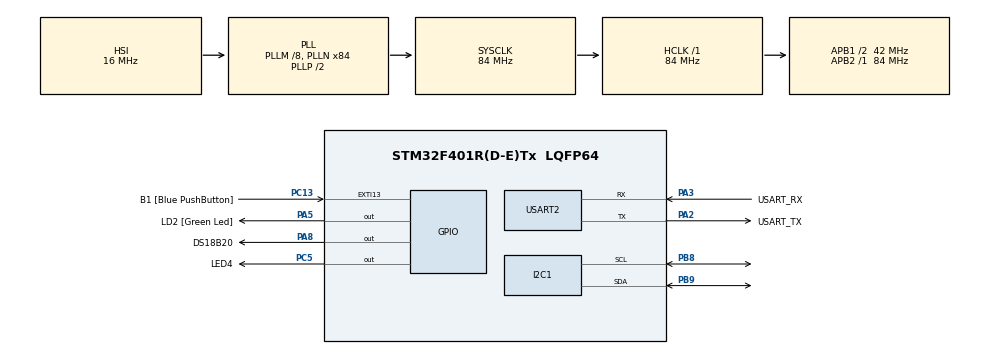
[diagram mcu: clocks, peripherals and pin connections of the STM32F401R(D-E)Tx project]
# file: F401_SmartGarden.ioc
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FREERTOS.Tasks01=defaultTask,0,128,StartDefaultTask,Default,NULL,Dynamic,NULL,NULL
FREERTOS.configTOTAL_HEAP_SIZE=20000
FREERTOS.configUSE_NEWLIB_REENTRANT=1
Mcu.Family=STM32F4
Mcu.Name=STM32F401R(D-E)Tx
Mcu.Package=LQFP64
NVIC.PriorityGroup=NVIC_PRIORITYGROUP_4
NVIC.TIM1_UP_TIM10_IRQn=true\:15\:0\:false\:false\:true\:false\:false\:true\:true
NVIC.TimeBase=TIM1_UP_TIM10_IRQn
NVIC.TimeBaseIP=TIM10
PA13.GPIO_Label=TMS
PA13.Mode=Serial_Wire
PA13.Signal=SYS_JTMS-SWDIO
PA14.GPIO_Label=TCK
PA14.Mode=Serial_Wire
PA14.Signal=SYS_JTCK-SWCLK
PA2.GPIO_Label=USART_TX
PA2.GPIO_Mode=GPIO_MODE_AF_PP
PA2.GPIO_PuPd=GPIO_NOPULL
PA2.GPIO_Speed=GPIO_SPEED_FREQ_LOW
PA2.Mode=Asynchronous
PA2.Signal=USART2_TX
PA3.GPIO_Label=USART_RX
PA3.GPIO_Mode=GPIO_MODE_AF_PP
PA3.GPIO_PuPd=GPIO_NOPULL
PA3.GPIO_Speed=GPIO_SPEED_FREQ_LOW
PA3.Mode=Asynchronous
PA3.Signal=USART2_RX
PA5.GPIO_Label=LD2 [Green Led]
PA5.GPIO_Mode=GPIO_MODE_OUTPUT_PP
PA5.GPIO_ModeDefaultOutputPP=GPIO_MODE_OUTPUT_PP
PA5.GPIO_PuPd=GPIO_NOPULL
PA5.GPIO_Speed=GPIO_SPEED_FREQ_LOW
PA5.Signal=GPIO_Output
PA8.GPIO_Label=DS18B20
PA8.GPIO_ModeDefaultOutputPP=GPIO_MODE_OUTPUT_OD
PA8.GPIO_PuPd=GPIO_PULLUP
PA8.Signal=GPIO_Output
PB3.GPIO_Label=SWO
PB3.Signal=SYS_JTDO-SWO
PB8.Mode=I2C
PB8.Signal=I2C1_SCL
PB9.Mode=I2C
PB9.Signal=I2C1_SDA
PC13-ANTI_TAMP.GPIO_Label=B1 [Blue PushButton]
PC13-ANTI_TAMP.GPIO_ModeDefaultEXTI=GPIO_MODE_IT_FALLING
PC13-ANTI_TAMP.GPIO_PuPd=GPIO_NOPULL
PC13-ANTI_TAMP.Signal=GPXTI13
PC14-OSC32_IN.Mode=LSE-External-Oscillator
PC14-OSC32_IN.Signal=RCC_OSC32_IN
PC15-OSC32_OUT.Mode=LSE-External-Oscillator
PC15-OSC32_OUT.Signal=RCC_OSC32_OUT
PC5.GPIO_Label=LED4
PC5.Signal=GPIO_Output
PH0\ -\ OSC_IN.Mode=HSE-External-Clock-Source
PH0\ -\ OSC_IN.Signal=RCC_OSC_IN
PH1\ -\ OSC_OUT.Mode=HSE-External-Clock-Source
PH1\ -\ OSC_OUT.Signal=RCC_OSC_OUT
ProjectManager.HeapSize=0x200
ProjectManager.StackSize=0x400
ProjectManager.TargetToolchain=STM32CubeIDE
RCC.48MHZClocksFreq_Value=24000000
RCC.AHBFreq_Value=84000000
RCC.APB1CLKDivider=RCC_HCLK_DIV2
RCC.APB1Freq_Value=42000000
RCC.APB1TimFreq_Value=84000000
RCC.APB2Freq_Value=84000000
RCC.APB2TimFreq_Value=84000000
RCC.CortexFreq_Value=84000000
RCC.HCLKFreq_Value=84000000
RCC.HSE_VALUE=8000000
RCC.HSI_VALUE=16000000
RCC.PLLM=8
RCC.PLLN=84
RCC.PLLQ=7
RCC.SYSCLKFreq_VALUE=84000000
RCC.SYSCLKSource=RCC_SYSCLKSOURCE_PLLCLK
RCC.VCOOutputFreq_Value=168000000
TIM1.Prescaler=84-1
USART2.VirtualMode=VM_ASYNC
VP_FREERTOS_VS_CMSIS_V1.Mode=CMSIS_V1
VP_SYS_VS_tim10.Mode=TIM10
VP_TIM1_VS_ClockSourceINT.Mode=Internal
board=NUCLEO-F401RE

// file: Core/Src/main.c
/* USER CODE BEGIN Header */
/**
 ******************************************************************************
 * @file           : main.c
 * @brief          : Main program body
 ******************************************************************************
 * @attention
 *
 * Copyright (c) 2022 STMicroelectronics.
 * All rights reserved.
 *
 * This software is licensed under terms that can be found in the LICENSE file
 * in the root directory of this software component.
 * If no LICENSE file comes with this software, it is provided AS-IS.
 *
 ******************************************************************************
 */
/* USER CODE END Header */
#include "main.h"
#include "cmsis_os.h"
#include "i2c.h"
#include "tim.h"
#include "usart.h"
#include "gpio.h"

/* USER CODE BEGIN Includes */
#include "bmp180_for_stm32_hal.h"
#include "stdio.h"
#include "stdlib.h"
#include "string.h"

#include "onewire.h"
#include "ds18b20.h"
/* USER CODE END Includes */

/* USER CODE BEGIN PV */
osThreadId Bmp180Handle;
osThreadId Ds18b20Handle;
osThreadId BlinkyHandle;

//osMutexDef (MutexIsr);                                     // Mutex name definition
//osMutexId mutex_id;                                        // Mutex id

/* USER CODE END PV */

void SystemClock_Config(void);
void MX_FREERTOS_Init(void);
/* USER CODE BEGIN PFP */
void Bmp180_Init(osPriority Priority);
void Ds18b20_Init(osPriority Priority);

void Task_Bmp180(void const *argument);
void Task_Blinky(void const *argument);
void Task_Ds18b20(void const *argument);

#ifdef __GNUC__
#define PUTCHAR_PROTOTYPE int __io_putchar(int ch)
#else
#define PUTCHAR_PROTOTYPE int fputc(int ch, FILE *f)
#endif

PUTCHAR_PROTOTYPE {
	HAL_UART_Transmit(&huart2, (uint8_t*) &ch, 1, HAL_MAX_DELAY);
	return ch;
}
/* USER CODE END PFP */

int main(void)
{

  /* MCU Configuration--------------------------------------------------------*/

  /* Reset of all peripherals, Initializes the Flash interface and the Systick. */
  HAL_Init();

  /* Configure the system clock */
  SystemClock_Config();

  /* Initialize all configured peripherals */
  MX_GPIO_Init();
  MX_USART2_UART_Init();
  MX_I2C1_Init();
  MX_TIM1_Init();
  /* USER CODE BEGIN 2 */

	DS18B20_Config(DS18B20_Resolution_12bits);// olyan mintha a mutex előtt kellene lennie...

//	DS18B20_Config(DS18B20_Resolution_12bits);//ennek itt kell lennie, mert különben nem működik :D
	//ha be akarom tenni pl. a Ds18b20_Init()-be akkor már nem jó... lehal a led taszk is...
	printf("\r\n************** APPLICATION *************\r\n");
	printf("****************************************\r\n");

	printf("Next version\r\n");

	//mutex_id = osMutexCreate  (osMutex (MutexIsr));
	// szüksége van a mutexre is... én ezt komolyan nem értem...
	// nincs amúgy error handlerbe ilyenkor...

	Bmp180_Init(osPriorityNormal);

	//valamiért még nem megy... :(
	// pedig mutexet is próbáltam
	// néha az első kiírás után lefagy, de beakasztja a ledvillogtató taszkot is...

	//asszem megvan :D
	// csak több mneória kellett neki (256)
	Ds18b20_Init(osPriorityNormal);

	osPriority Task_BlinkyPriority = osPriorityNormal;
	osThreadDef(myTask_Blinky, Task_Blinky, Task_BlinkyPriority, 0, 128);
	BlinkyHandle = osThreadCreate(osThread(myTask_Blinky), NULL);

	///!!! BIZONY, BIZONY A TASZKOK MEMÓRIÁJÁT KELLETT ÁLLÍTGATNI, HOGY A MUTEX NÉLKÜL MENJEN....
	//HÁT EZ SEM MINDIG MEGY...
	//LEHET HOGY A DS18B20 NEM AZ IGAZI, LEHET NÉHA RESETELNI KÉNE, MERT NÉHA 4095-ÖT ÍR HŐMÉRSÉKLETRE...
  /* USER CODE END 2 */

  /* Call init function for freertos objects (in freertos.c) */
  MX_FREERTOS_Init();

  /* Start scheduler */
  osKernelStart();

  /* We should never get here as control is now taken by the scheduler */
  /* Infinite loop */
	while (1) {

	}
}

void SystemClock_Config(void)
{
  RCC_OscInitTypeDef RCC_OscInitStruct = {0};
  RCC_ClkInitTypeDef RCC_ClkInitStruct = {0};

  /** Configure the main internal regulator output voltage
  */
  __HAL_RCC_PWR_CLK_ENABLE();
  __HAL_PWR_VOLTAGESCALING_CONFIG(PWR_REGULATOR_VOLTAGE_SCALE2);

  /** Initializes the RCC Oscillators according to the specified parameters
  * in the RCC_OscInitTypeDef structure.
  */
  RCC_OscInitStruct.OscillatorType = RCC_OSCILLATORTYPE_HSI;
  RCC_OscInitStruct.HSIState = RCC_HSI_ON;
  RCC_OscInitStruct.HSICalibrationValue = RCC_HSICALIBRATION_DEFAULT;
  RCC_OscInitStruct.PLL.PLLState = RCC_PLL_ON;
  RCC_OscInitStruct.PLL.PLLSource = RCC_PLLSOURCE_HSI;
  RCC_OscInitStruct.PLL.PLLM = 8;
  RCC_OscInitStruct.PLL.PLLN = 84;
  RCC_OscInitStruct.PLL.PLLP = RCC_PLLP_DIV2;
  RCC_OscInitStruct.PLL.PLLQ = 7;
  if (HAL_RCC_OscConfig(&RCC_OscInitStruct) != HAL_OK)
  {
    Error_Handler();
  }

  /** Initializes the CPU, AHB and APB buses clocks
  */
  RCC_ClkInitStruct.ClockType = RCC_CLOCKTYPE_HCLK|RCC_CLOCKTYPE_SYSCLK
                              |RCC_CLOCKTYPE_PCLK1|RCC_CLOCKTYPE_PCLK2;
  RCC_ClkInitStruct.SYSCLKSource = RCC_SYSCLKSOURCE_PLLCLK;
  RCC_ClkInitStruct.AHBCLKDivider = RCC_SYSCLK_DIV1;
  RCC_ClkInitStruct.APB1CLKDivider = RCC_HCLK_DIV2;
  RCC_ClkInitStruct.APB2CLKDivider = RCC_HCLK_DIV1;

  if (HAL_RCC_ClockConfig(&RCC_ClkInitStruct, FLASH_LATENCY_2) != HAL_OK)
  {
    Error_Handler();
  }
}

/* USER CODE BEGIN 4 */

void Ds18b20_Init(osPriority Priority) {
	osThreadDef(myTask_Ds18b20, Task_Ds18b20, Priority, 0, 512);
	Ds18b20Handle = osThreadCreate(osThread(myTask_Ds18b20), NULL);

}

void Task_Ds18b20(void const *argument) {

	float temperature;
	char message[64];

	for (;;) {
		//osMutexWait    (mutex_id, 0);
		DS18B20_ReadAll();
		DS18B20_StartAll();
		uint8_t ROM_tmp[8];
		uint8_t i;
		for (i = 0; i < DS18B20_Quantity(); i++) {
			if (DS18B20_GetTemperature(i, &temperature)) {
				DS18B20_GetROM(i, ROM_tmp);
				memset(message, 0, sizeof(message));
				sprintf(message, "%d. ROM: %X%X%X%X%X%X%X%X Temp: %f\r\n", i,
						ROM_tmp[0], ROM_tmp[1], ROM_tmp[2], ROM_tmp[3],
						ROM_tmp[4], ROM_tmp[5], ROM_tmp[6], ROM_tmp[7],
						temperature);
				HAL_UART_Transmit(&huart2, message, strlen(message), 1000);
				printf("****************************************\r\n");
			}
		}
		//osMutexRelease(mutex_id);
		osDelay(2000);
	}
}

void Bmp180_Init(osPriority Priority) {
	osThreadDef(myTask_Bmp180, Task_Bmp180, Priority, 0, 512);
	Bmp180Handle = osThreadCreate(osThread(myTask_Bmp180), NULL);

	//TODO: a hibakezelelést itt még meg kéne oldani, mert ha nincs csatlakoztatva szenzor akkor beragad
#if 1
	/* Initializes BMP180 sensor and oversampling settings. */
	BMP180_SetI2C(&hi2c1);
	BMP180_SetOversampling(BMP180_ULTRA);
	/* Update calibration data. Must be called once before entering main loop. */
	BMP180_UpdateCalibrationData();
#endif
}

void Task_Bmp180(void const *argument) {
	for (;;) {
#if 1
		/* Reads temperature. */
		int32_t temperature = BMP180_GetRawTemperature();
		/* If you want a floating point number instead, you can call: */
		//float temperature = BMP180_GetTemperature();
		/* Reads pressure. */
		int32_t pressure = BMP180_GetPressure();
		char buffer[100];
		sprintf(buffer, "Temperature: %d.%d deg C\nPressure: %d Pa\n",
				(int) temperature / 10, (int) temperature % 10, (int) pressure);
		HAL_UART_Transmit(&huart2, buffer, strlen(buffer), 1000);
#endif
		printf("****************************************\r\n");
		osDelay(2000);
	}
}

void Task_Blinky(void const *argument) {
	for (;;) {
		HAL_GPIO_TogglePin(LED4_GPIO_Port, LED4_Pin);
		osDelay(500);
	}

}

/* USER CODE END 4 */

void HAL_TIM_PeriodElapsedCallback(TIM_HandleTypeDef *htim)
{
  if (htim->Instance == TIM10) {
    HAL_IncTick();
  }
}

void Error_Handler(void)
{
  /* USER CODE BEGIN Error_Handler_Debug */
	/* User can add his own implementation to report the HAL error return state */
	__disable_irq();
	while (1) {
		printf("Error_Handler()\r\n");
		HAL_Delay(500);
	}
  /* USER CODE END Error_Handler_Debug */
}
